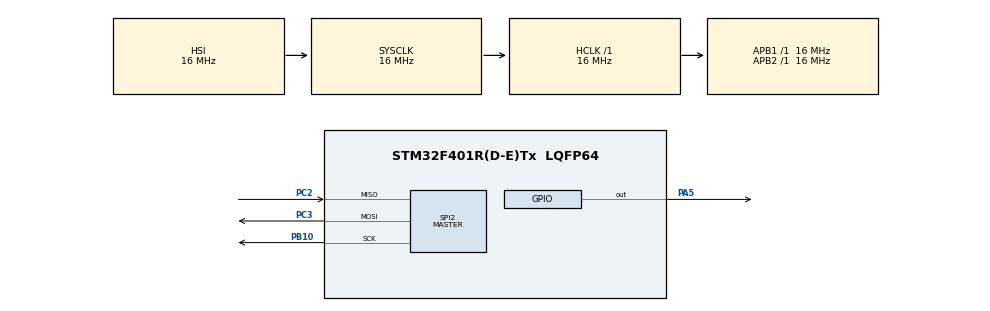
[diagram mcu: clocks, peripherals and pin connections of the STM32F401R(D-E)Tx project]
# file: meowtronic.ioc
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Mcu.Family=STM32F4
Mcu.Name=STM32F401R(D-E)Tx
Mcu.Package=LQFP64
NVIC.PriorityGroup=NVIC_PRIORITYGROUP_4
PA13.Mode=Trace_Asynchronous_SW
PA13.Signal=SYS_JTMS-SWDIO
PA14.Mode=Trace_Asynchronous_SW
PA14.Signal=SYS_JTCK-SWCLK
PA5.Signal=GPIO_Output
PB10.Mode=Full_Duplex_Master
PB10.Signal=SPI2_SCK
PB3.Mode=Trace_Asynchronous_SW
PB3.Signal=SYS_JTDO-SWO
PC2.Mode=Full_Duplex_Master
PC2.Signal=SPI2_MISO
PC3.Mode=Full_Duplex_Master
PC3.Signal=SPI2_MOSI
ProjectManager.HeapSize=0x200
ProjectManager.StackSize=0x400
ProjectManager.TargetToolchain=STM32CubeIDE
RCC.AHBFreq_Value=16000000
RCC.APB1Freq_Value=16000000
RCC.APB2Freq_Value=16000000
RCC.CortexFreq_Value=16000000
RCC.HSE_VALUE=25000000
RCC.HSI_VALUE=16000000
RCC.LSE_VALUE=32768
RCC.SYSCLKFreq_VALUE=16000000
RCC.VCOOutputFreq_Value=192000000
SPI2.Direction=SPI_DIRECTION_2LINES
SPI2.Mode=SPI_MODE_MASTER
SPI2.VirtualType=VM_MASTER
board=custom

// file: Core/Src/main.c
/* USER CODE BEGIN Header */
/**
  ******************************************************************************
  * @file           : main.c
  * @brief          : Main program body
  ******************************************************************************
  * @attention
  *
  * Copyright (c) 2025 STMicroelectronics.
  * All rights reserved.
  *
  * This software is licensed under terms that can be found in the LICENSE file
  * in the root directory of this software component.
  * If no LICENSE file comes with this software, it is provided AS-IS.
  *
  ******************************************************************************
  */
/* USER CODE END Header */
#include "main.h"

SPI_HandleTypeDef hspi2;

/* USER CODE BEGIN PV */
#define SCALE_FACTOR 2280.0

/* USER CODE END PV */

void SystemClock_Config(void);
static void MX_GPIO_Init(void);
static void MX_SPI2_Init(void);

int main(void)
{

  /* MCU Configuration--------------------------------------------------------*/

  /* Reset of all peripherals, Initializes the Flash interface and the Systick. */
  HAL_Init();

  /* Configure the system clock */
  SystemClock_Config();

  /* Initialize all configured peripherals */
  MX_GPIO_Init();
  MX_SPI2_Init();
  /* USER CODE BEGIN 2 */
  HAL_Delay(1000);

  HX711_Init();
  ST7789_Init();
  ST7789_Test();

  /* USER CODE END 2 */

  /* Infinite loop */
  /* USER CODE BEGIN WHILE */

  int startup = 1;
  int init_point = 0;
  int32_t raw_value = 0;

  while (1)
  {
    /* USER CODE END WHILE */

    /* USER CODE BEGIN 3 */
	  HAL_GPIO_TogglePin(GPIOA, GPIO_PIN_5);
	  //HAL_GPIO_WritePin(HX711_CLK_GPIO_Port, HX711_CLK_Pin, GPIO_PIN_RESET);

	  HAL_Delay(1000);

      // Check if HX711 is ready
      if (HX711_IsReady()) {
          // Read raw data from HX711

          if (startup == 1){
        	  printf("calibrating...\n");
        	  init_point = HX711_calibrate();
        	  printf("calibrated to:\n", init_point);
        	  startup = 0;
          }
          else{
        	  raw_value = HX711_Read();
          }

          // Convert raw value to weight using calibration
          int32_t weight = 1000*(float)(raw_value-init_point) / SCALE_FACTOR;

          // Print the result (replace with appropriate display or output in your system)
          printf("Raw Value: %ld\tWeight: %ld mg\n", raw_value, weight);

          // Delay for readability (adjust as needed)
          HAL_Delay(500);
      } else {
          printf("HX711 not ready\n");
          HAL_Delay(100);
      }
  }
  /* USER CODE END 3 */
}

void SystemClock_Config(void)
{
  RCC_OscInitTypeDef RCC_OscInitStruct = {0};
  RCC_ClkInitTypeDef RCC_ClkInitStruct = {0};

  /** Configure the main internal regulator output voltage
  */
  __HAL_RCC_PWR_CLK_ENABLE();
  __HAL_PWR_VOLTAGESCALING_CONFIG(PWR_REGULATOR_VOLTAGE_SCALE2);

  /** Initializes the RCC Oscillators according to the specified parameters
  * in the RCC_OscInitTypeDef structure.
  */
  RCC_OscInitStruct.OscillatorType = RCC_OSCILLATORTYPE_HSI;
  RCC_OscInitStruct.HSIState = RCC_HSI_ON;
  RCC_OscInitStruct.HSICalibrationValue = RCC_HSICALIBRATION_DEFAULT;
  RCC_OscInitStruct.PLL.PLLState = RCC_PLL_NONE;
  if (HAL_RCC_OscConfig(&RCC_OscInitStruct) != HAL_OK)
  {
    Error_Handler();
  }

  /** Initializes the CPU, AHB and APB buses clocks
  */
  RCC_ClkInitStruct.ClockType = RCC_CLOCKTYPE_HCLK|RCC_CLOCKTYPE_SYSCLK
                              |RCC_CLOCKTYPE_PCLK1|RCC_CLOCKTYPE_PCLK2;
  RCC_ClkInitStruct.SYSCLKSource = RCC_SYSCLKSOURCE_HSI;
  RCC_ClkInitStruct.AHBCLKDivider = RCC_SYSCLK_DIV1;
  RCC_ClkInitStruct.APB1CLKDivider = RCC_HCLK_DIV1;
  RCC_ClkInitStruct.APB2CLKDivider = RCC_HCLK_DIV1;

  if (HAL_RCC_ClockConfig(&RCC_ClkInitStruct, FLASH_LATENCY_0) != HAL_OK)
  {
    Error_Handler();
  }
}

static void MX_SPI2_Init(void)
{

  /* SPI2 parameter configuration*/
  hspi2.Instance = SPI2;
  hspi2.Init.Mode = SPI_MODE_MASTER;
  hspi2.Init.Direction = SPI_DIRECTION_2LINES;
  hspi2.Init.DataSize = SPI_DATASIZE_8BIT;
  hspi2.Init.CLKPolarity = SPI_POLARITY_LOW;
  hspi2.Init.CLKPhase = SPI_PHASE_1EDGE;
  hspi2.Init.NSS = SPI_NSS_SOFT;
  hspi2.Init.BaudRatePrescaler = SPI_BAUDRATEPRESCALER_2;
  hspi2.Init.FirstBit = SPI_FIRSTBIT_MSB;
  hspi2.Init.TIMode = SPI_TIMODE_DISABLE;
  hspi2.Init.CRCCalculation = SPI_CRCCALCULATION_DISABLE;
  hspi2.Init.CRCPolynomial = 10;
  if (HAL_SPI_Init(&hspi2) != HAL_OK)
  {
    Error_Handler();
  }

}

static void MX_GPIO_Init(void)
{
  GPIO_InitTypeDef GPIO_InitStruct = {0};

  /* GPIO Ports Clock Enable */
  __HAL_RCC_GPIOC_CLK_ENABLE();
  __HAL_RCC_GPIOA_CLK_ENABLE();
  __HAL_RCC_GPIOB_CLK_ENABLE();

  /*Configure GPIO pin Output Level */
  HAL_GPIO_WritePin(GPIOA, GPIO_PIN_5, GPIO_PIN_RESET);

  /*Configure GPIO pin : PA5 */
  GPIO_InitStruct.Pin = GPIO_PIN_5;
  GPIO_InitStruct.Mode = GPIO_MODE_OUTPUT_PP;
  GPIO_InitStruct.Pull = GPIO_NOPULL;
  GPIO_InitStruct.Speed = GPIO_SPEED_FREQ_LOW;
  HAL_GPIO_Init(GPIOA, &GPIO_InitStruct);

}

void Error_Handler(void)
{
  __disable_irq();
  while (1)
  {
  }
}
